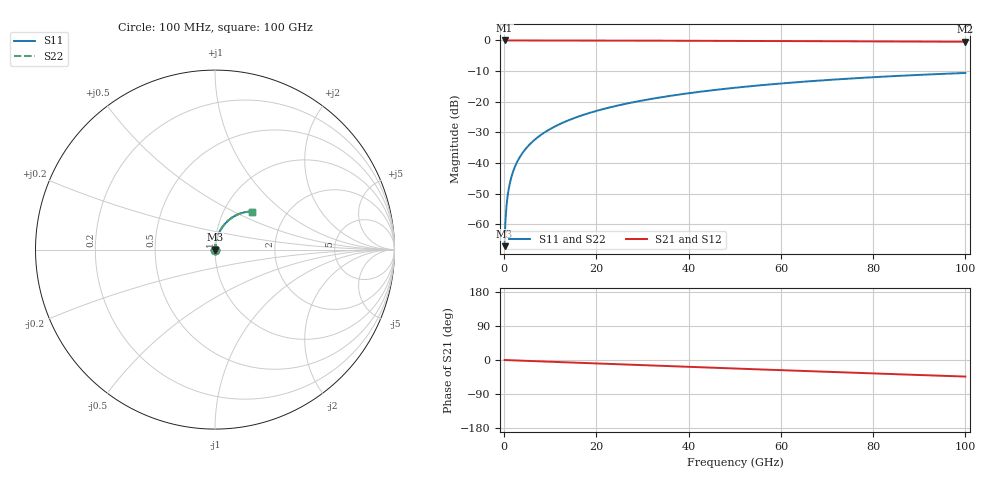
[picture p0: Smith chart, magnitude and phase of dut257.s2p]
! Touchstone file exported from HFSS 2026.1.0
!  File:  C:/ffzhzh/LocalFiles/Ansys_Project_Files/temp_train_TSV_257_1783508453_31944.aedt
!  Generated:  07:02:20 PM Jul  8, 2026
!  Design:  TSV
!  Project:  temp_train_TSV_257_1783508453_31944
! Variables:
!  h_bsmrdl = 2um
!  h_ox = 20um
!  h_rdl = 5um
!  h_sub = 75.72um
!  h_tmrdl = 5um
!  h_tsv = 75.72um
!  h_via = 3um
!  l_bsmrdl = 300um
!  l_sub = 414.72um
!  l_tmrdl = 200um
!  m_sub = 200um
!  pitch = 57.27um
!  r_tsv = 7.36um
!  s_tmrdl = 10um
!  w_bsmrdl = 18um
!  w_sub = 500um
!  w_tmrdl = 12um
!  x_tsv_center1 = 206um
!  x_tsv_center2 = 524um
!  x_tsv_center3 = 736um
!  x_tsv_center4 = 1054um
!  x_tsv_center5 = 1266um
!  x_tsv_center6 = 1584um
# GHz S MA R 50.000000
! Terminal data exported
! Port[1] = TSV1_1_T1
! Port[2] = TSV1_1_T2
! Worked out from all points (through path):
!   1000 points, 100 MHz to 100 GHz, reference 50 ohm
!   highest |S21| = 0.00 dB at 100 MHz (marker M1); lowest = -0.4 dB at 100 GHz (marker M2)
!   group delay of S21, straight-line fit = 1.22 ps
!   lowest |S11| = -67.1 dB at 100 MHz (marker M3), VSWR 1.00, Z = 50 + j0.0396 ohm
!   |S11| at or under -10 dB: start of sweep to end of sweep
!   |S22| runs from -67.1 to -10.6 dB; largest |S21 - S12| = 6.3e-15
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0.1  0.000441 64.0  0.9998 -0.0  0.9998 -0.0  0.000441 64.0
! Gamma 0 0 0 0
! Port Impedance 50 0 50 0
0.3  0.001196 79.3  0.9998 -0.1  0.9998 -0.1  0.001196 79.3
0.7  0.002699 83.7  0.9997 -0.3  0.9997 -0.3  0.002699 83.7
0.8  0.003072 84.1  0.9997 -0.4  0.9997 -0.4  0.003072 84.1
1  0.003814 84.7  0.9997 -0.5  0.9997 -0.5  0.003814 84.7
1.3  0.004924 85.2  0.9996 -0.6  0.9996 -0.6  0.004924 85.2
1.7  0.006393 85.5  0.9996 -0.8  0.9996 -0.8  0.006393 85.5
2.3  0.008577 85.7  0.9995 -1.1  0.9995 -1.1  0.008577 85.7
3  0.0111 85.7  0.9994 -1.4  0.9994 -1.4  0.0111 85.7
3.8  0.01397 85.6  0.9993 -1.8  0.9993 -1.8  0.01397 85.6
4.8  0.01754 85.4  0.9991 -2.2  0.9991 -2.2  0.01754 85.4
6  0.02181 85.1  0.999 -2.8  0.999 -2.8  0.02181 85.1
8.8  0.03175 84.2  0.9985 -4.0  0.9985 -4.0  0.03175 84.2
12.4  0.04444 82.8  0.9978 -5.7  0.9978 -5.7  0.04444 82.8
16.8  0.05981 81.0  0.9968 -7.7  0.9968 -7.7  0.05981 81.0
24.2  0.08532 77.9  0.9947 -11.0  0.9947 -11.0  0.08532 77.9
33.4  0.1162 74.0  0.9913 -15.1  0.9913 -15.1  0.1162 74.0
41.2  0.1416 70.6  0.9878 -18.6  0.9878 -18.6  0.1416 70.6
50.1  0.1694 66.7  0.9833 -22.5  0.9833 -22.5  0.1694 66.7
66.7  0.2173 59.6  0.9735 -29.7  0.9735 -29.7  0.2173 59.6
83.4  0.2596 52.6  0.9629 -36.8  0.9629 -36.8  0.2596 52.6
100  0.295 45.8  0.9524 -43.7  0.9524 -43.7  0.295 45.8
